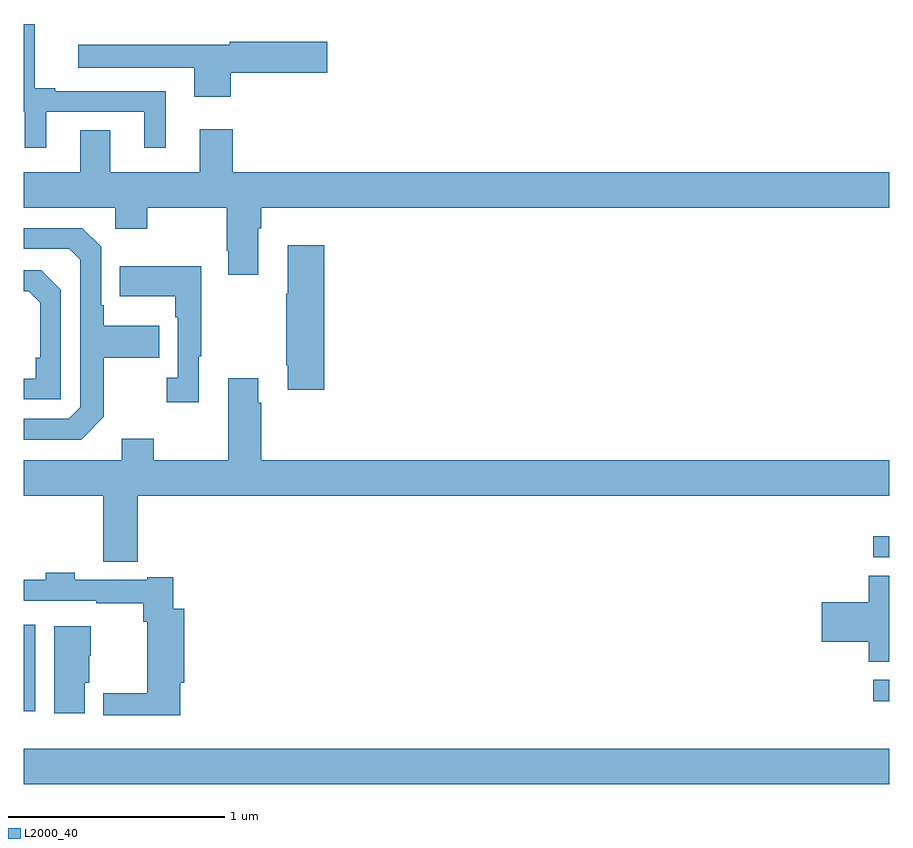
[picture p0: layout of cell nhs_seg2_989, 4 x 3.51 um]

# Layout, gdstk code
import gdstk
lib = gdstk.Library(unit=1e-6, precision=1e-09)
def R(c, l, rs):  # rectangles x0, y0, x1, y1
    for r in rs: c.add(gdstk.rectangle(r[:2], r[2:], *l))
def P(c, l, *ps):  # polygons
    for p in ps: c.add(gdstk.Polygon(p, *l))
L2000_40 = (2000, 40)

nhs_seg2_989 = lib.new_cell('nhs_seg2_989')
R(nhs_seg2_989, L2000_40, [(161,662.288,165,662.452), (161,662.624,161.053,663.025), (164.925,662.671,165,662.769), (164.925,663.336,165,663.432)])
P(nhs_seg2_989, L2000_40, [(161.104,665.394),(161.558,665.394),(161.558,665.229),(161.656,665.229),(161.656,665.49),(161.146,665.49),(161.146,665.503),(161.05,665.503),(161.05,665.8),(161,665.8),(161,665.394),(161.006,665.394),(161.006,665.229),(161.104,665.229)],
  [(161.956,665.575),(162.403,665.575),(162.403,665.717),(161.952,665.717),(161.952,665.704),(161.253,665.704),(161.253,665.597),(161.789,665.597),(161.789,665.463),(161.956,665.463)],
  [(162.085,664.856),(162.098,664.856),(162.098,664.952),(165,664.952),(165,665.116),(161.966,665.116),(161.966,665.314),(161.813,665.314),(161.813,665.116),(161.401,665.116),(161.401,665.309),(161.261,665.309),(161.261,665.116),(161,665.116),(161,664.952),(161.424,664.952),(161.424,664.853),(161.571,664.853),(161.571,664.952),(161.938,664.952),(161.938,664.753),(161.945,664.753),(161.945,664.641),(162.085,664.641)],
  [(161.371,663.985),(161.371,664.258),(161.627,664.258),(161.627,664.405),(161.371,664.405),(161.371,664.501),(161.358,664.501),(161.358,664.77),(161.271,664.857),(161,664.857),(161,664.761),(161.211,664.761),(161.262,664.71),(161.262,664.029),(161.208,663.975),(161,663.975),(161,663.879),(161.265,663.879)],
  [(162.389,664.777),(162.221,664.777),(162.221,664.553),(162.214,664.553),(162.214,664.222),(162.221,664.222),(162.221,664.11),(162.389,664.11)],
  [(161.809,664.265),(161.821,664.265),(161.821,664.681),(161.443,664.681),(161.443,664.541),(161.7,664.541),(161.7,664.445),(161.712,664.445),(161.712,664.166),(161.661,664.166),(161.661,664.053),(161.809,664.053)],
  [(161.172,664.572),(161.082,664.662),(161,664.662),(161,664.565),(161.023,664.565),(161.076,664.512),(161.076,664.258),(161.056,664.258),(161.056,664.161),(161,664.161),(161,664.065),(161.172,664.065)],
  [(161.528,663.62),(165,663.62),(165,663.784),(162.098,663.784),(162.098,664.049),(162.085,664.049),(162.085,664.162),(161.945,664.162),(161.945,663.784),(161.601,663.784),(161.601,663.883),(161.453,663.883),(161.453,663.784),(161,663.784),(161,663.62),(161.368,663.62),(161.368,663.316),(161.528,663.316)],
  [(161.723,662.757),(161.741,662.757),(161.741,663.097),(161.692,663.097),(161.692,663.244),(161.57,663.244),(161.57,663.231),(161.235,663.231),(161.235,663.264),(161.103,663.264),(161.103,663.231),(161,663.231),(161,663.135),(161.335,663.135),(161.335,663.123),(161.553,663.123),(161.553,663.038),(161.57,663.038),(161.57,662.708),(161.367,662.708),(161.367,662.606),(161.723,662.606)],
  [(165,663.251),(164.906,663.251),(164.906,663.128),(164.688,663.128),(164.688,662.945),(164.906,662.945),(164.906,662.854),(165,662.854)],
  [(161.281,662.757),(161.302,662.757),(161.302,662.88),(161.311,662.88),(161.311,663.016),(161.141,663.016),(161.141,662.616),(161.281,662.616)])

lib.write_gds('nhs_seg2_989.gds')
